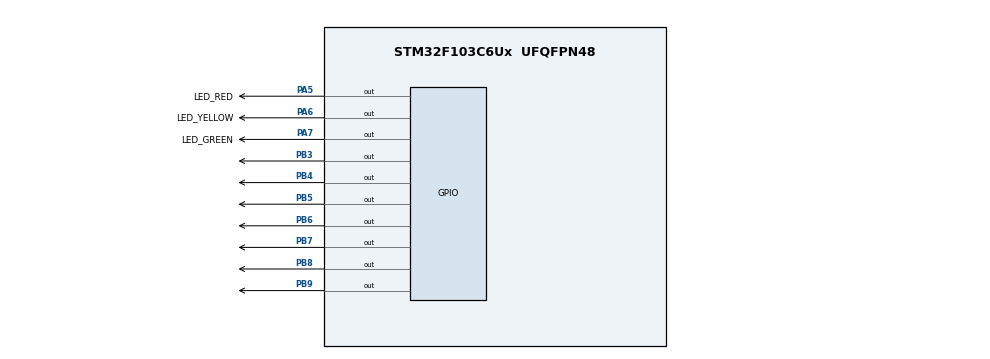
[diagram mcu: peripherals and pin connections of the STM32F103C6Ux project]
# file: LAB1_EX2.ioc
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Mcu.Family=STM32F1
Mcu.Name=STM32F103C6Ux
Mcu.Package=UFQFPN48
NVIC.PriorityGroup=NVIC_PRIORITYGROUP_4
PA5.GPIO_Label=LED_RED
PA5.Signal=GPIO_Output
PA6.GPIO_Label=LED_YELLOW
PA6.Signal=GPIO_Output
PA7.GPIO_Label=LED_GREEN
PA7.Signal=GPIO_Output
PB3.Signal=GPIO_Output
PB4.Signal=GPIO_Output
PB5.Signal=GPIO_Output
PB6.Signal=GPIO_Output
PB7.Signal=GPIO_Output
PB8.Signal=GPIO_Output
PB9.Signal=GPIO_Output
ProjectManager.HeapSize=0x200
ProjectManager.StackSize=0x400
ProjectManager.TargetToolchain=STM32CubeIDE
RCC.APB1Freq_Value=8000000
RCC.APB2Freq_Value=8000000
VP_SYS_VS_ND.Mode=No_Debug
board=custom

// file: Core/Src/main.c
/* USER CODE BEGIN Header */
/**
  ******************************************************************************
  * @file           : main.c
  * @brief          : Main program body
  ******************************************************************************
  * @attention
  *
  * <h2><center>&copy; Copyright (c) 2025 STMicroelectronics.
  * All rights reserved.</center></h2>
  *
  * This software component is licensed by ST under BSD 3-Clause license,
  * the "License"; You may not use this file except in compliance with the
  * License. You may obtain a copy of the License at:
  *                        opensource.org/licenses/BSD-3-Clause
  *
  ******************************************************************************
  */
/* USER CODE END Header */
#include "main.h"

void SystemClock_Config(void);
static void MX_GPIO_Init(void);

int main(void)
{

  /* MCU Configuration--------------------------------------------------------*/

  /* Reset of all peripherals, Initializes the Flash interface and the Systick. */
  HAL_Init();

  /* Configure the system clock */
  SystemClock_Config();

  /* Initialize all configured peripherals */
  MX_GPIO_Init();

  /* Infinite loop */
  /* USER CODE BEGIN WHILE */
  void display7SEG(int num){
  	  const uint8_t segTable[10][7] = {
  			  {0,0,0,0,0,0,1},
  			  {1,0,0,1,1,1,1},
  			  {0,0,1,0,0,1,0},
  			  {0,0,0,0,1,1,0},
  			  {1,0,0,1,1,0,0},
  			  {0,1,0,0,1,0,0},
  			  {0,1,0,0,0,0,0},
  			  {0,0,0,1,1,1,1},
  			  {0,0,0,0,0,0,0},
  			  {0,0,0,0,1,0,0},
  	  };
  	  const uint16_t pins[7] = {
  			  GPIO_PIN_3, // a
  			          GPIO_PIN_4, // b
  			          GPIO_PIN_5, // c
  			          GPIO_PIN_6, // d
  			          GPIO_PIN_7, // e
  			          GPIO_PIN_8, // f
  			          GPIO_PIN_9  // g
  	  };
  	  for (int i = 0; i < 7; i++) {
  	          if (segTable[num][i] == 0) {
  	              HAL_GPIO_WritePin(GPIOB, pins[i], RESET);
  	          } else {
  	              HAL_GPIO_WritePin(GPIOB, pins[i], SET);
  	          }
  	      }
    }
  int count = 5;
  int state = 0;
  int counter = 5;
  while (1)
  {
	if (state == 0){
		HAL_GPIO_WritePin(LED_RED_GPIO_Port, LED_RED_Pin, RESET);
		HAL_GPIO_WritePin(LED_YELLOW_GPIO_Port, LED_YELLOW_Pin, SET);
		HAL_GPIO_WritePin(LED_GREEN_GPIO_Port, LED_GREEN_Pin, SET);
		}
	else if (state == 1){
		HAL_GPIO_WritePin(LED_RED_GPIO_Port, LED_RED_Pin, SET);
		HAL_GPIO_WritePin(LED_YELLOW_GPIO_Port, LED_YELLOW_Pin, RESET);
		HAL_GPIO_WritePin(LED_GREEN_GPIO_Port, LED_GREEN_Pin, SET);
		}
	else if (state == 2){
		HAL_GPIO_WritePin(LED_RED_GPIO_Port, LED_RED_Pin, SET);
		HAL_GPIO_WritePin(LED_YELLOW_GPIO_Port, LED_YELLOW_Pin, SET);
		HAL_GPIO_WritePin(LED_GREEN_GPIO_Port, LED_GREEN_Pin, RESET);
		}
	display7SEG(counter);
	HAL_Delay(1000);

	count--;
	counter --;

	if (count == 0) {
		if (state == 0){
			state = 1; count = 2; counter = 2;
		}
		else if (state == 1){
			state = 2; count = 3; counter = 3;
		}
		else if (state == 2){
		state = 0; count = 5; counter = 5;
		}
	}

    /* USER CODE END WHILE */

  }
}

void SystemClock_Config(void)
{
  RCC_OscInitTypeDef RCC_OscInitStruct = {0};
  RCC_ClkInitTypeDef RCC_ClkInitStruct = {0};

  /** Initializes the RCC Oscillators according to the specified parameters
  * in the RCC_OscInitTypeDef structure.
  */
  RCC_OscInitStruct.OscillatorType = RCC_OSCILLATORTYPE_HSI;
  RCC_OscInitStruct.HSIState = RCC_HSI_ON;
  RCC_OscInitStruct.HSICalibrationValue = RCC_HSICALIBRATION_DEFAULT;
  RCC_OscInitStruct.PLL.PLLState = RCC_PLL_NONE;
  if (HAL_RCC_OscConfig(&RCC_OscInitStruct) != HAL_OK)
  {
    Error_Handler();
  }
  /** Initializes the CPU, AHB and APB buses clocks
  */
  RCC_ClkInitStruct.ClockType = RCC_CLOCKTYPE_HCLK|RCC_CLOCKTYPE_SYSCLK
                              |RCC_CLOCKTYPE_PCLK1|RCC_CLOCKTYPE_PCLK2;
  RCC_ClkInitStruct.SYSCLKSource = RCC_SYSCLKSOURCE_HSI;
  RCC_ClkInitStruct.AHBCLKDivider = RCC_SYSCLK_DIV1;
  RCC_ClkInitStruct.APB1CLKDivider = RCC_HCLK_DIV1;
  RCC_ClkInitStruct.APB2CLKDivider = RCC_HCLK_DIV1;

  if (HAL_RCC_ClockConfig(&RCC_ClkInitStruct, FLASH_LATENCY_0) != HAL_OK)
  {
    Error_Handler();
  }
}

static void MX_GPIO_Init(void)
{
  GPIO_InitTypeDef GPIO_InitStruct = {0};

  /* GPIO Ports Clock Enable */
  __HAL_RCC_GPIOA_CLK_ENABLE();
  __HAL_RCC_GPIOB_CLK_ENABLE();

  /*Configure GPIO pin Output Level */
  HAL_GPIO_WritePin(GPIOA, LED_RED_Pin|LED_YELLOW_Pin|LED_GREEN_Pin, GPIO_PIN_RESET);

  /*Configure GPIO pin Output Level */
  HAL_GPIO_WritePin(GPIOB, GPIO_PIN_3|GPIO_PIN_4|GPIO_PIN_5|GPIO_PIN_6
                          |GPIO_PIN_7|GPIO_PIN_8|GPIO_PIN_9, GPIO_PIN_RESET);

  /*Configure GPIO pins : LED_RED_Pin LED_YELLOW_Pin LED_GREEN_Pin */
  GPIO_InitStruct.Pin = LED_RED_Pin|LED_YELLOW_Pin|LED_GREEN_Pin;
  GPIO_InitStruct.Mode = GPIO_MODE_OUTPUT_PP;
  GPIO_InitStruct.Pull = GPIO_NOPULL;
  GPIO_InitStruct.Speed = GPIO_SPEED_FREQ_LOW;
  HAL_GPIO_Init(GPIOA, &GPIO_InitStruct);

  /*Configure GPIO pins : PB3 PB4 PB5 PB6
                           PB7 PB8 PB9 */
  GPIO_InitStruct.Pin = GPIO_PIN_3|GPIO_PIN_4|GPIO_PIN_5|GPIO_PIN_6
                          |GPIO_PIN_7|GPIO_PIN_8|GPIO_PIN_9;
  GPIO_InitStruct.Mode = GPIO_MODE_OUTPUT_PP;
  GPIO_InitStruct.Pull = GPIO_NOPULL;
  GPIO_InitStruct.Speed = GPIO_SPEED_FREQ_LOW;
  HAL_GPIO_Init(GPIOB, &GPIO_InitStruct);

}

void Error_Handler(void)
{
  __disable_irq();
  while (1)
  {
  }
}

/************************ (C) COPYRIGHT STMicroelectronics *****END OF FILE****/
